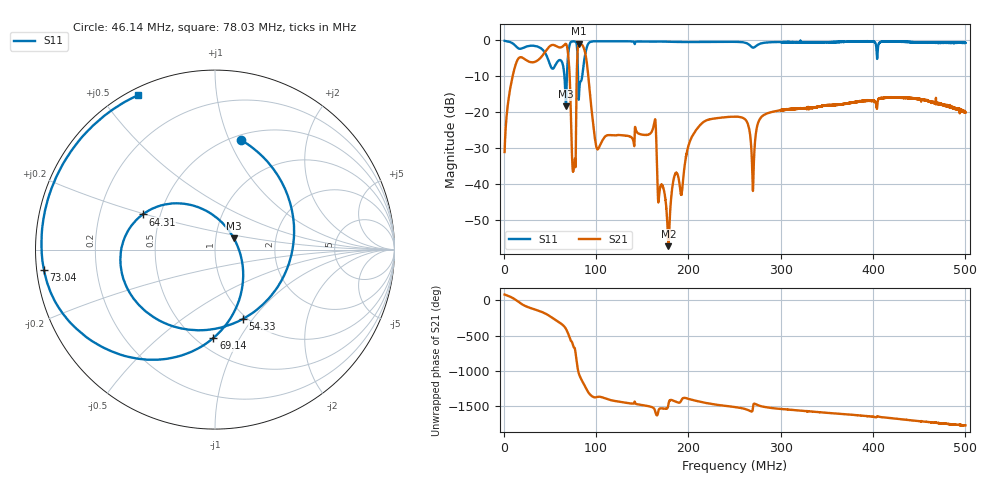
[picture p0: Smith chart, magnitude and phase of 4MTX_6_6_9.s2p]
! NanoVNA-App
! Date: 2026-08-18 22:12:17
! Start: 1MHz Stop: 500MHz Points: 6401
! S-Parameter data: F S11 S21 S12 S22
# Hz S RI R 50
!  Frequency  S11_Real  S11_Imag  S21_Real  S21_Imag  S12_Real  S12_Imag  S22_Real  S22_Imag
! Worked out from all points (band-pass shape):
!   6401 points, 1 MHz to 500 MHz, reference 50 ohm
!   highest |S21| = -0.87 dB at 81.46 MHz (marker M1); lowest = -57.2 dB at 178.5 MHz (marker M2)
!   |S21| within 3 dB of the highest: 42.91 MHz to 69.77 MHz (26.86 MHz wide, 47.7 % of centre); 79.85 MHz to 88.6 MHz (8.752 MHz wide, 10.4 % of centre)
!   lowest |S11| = -18.2 dB at 67.35 MHz (marker M3), VSWR 1.28, Z = 61.1 + j7.85 ohm
!   |S11| at or under -10 dB: 65.79 MHz to 68.46 MHz (2.671 MHz wide, 3.98 % of centre); 80.54 MHz to 84.99 MHz (4.454 MHz wide, 5.38 % of centre)
!   S12 and S22 are empty: the file has one direction only
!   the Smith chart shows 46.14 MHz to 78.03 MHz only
!   S11 on the Smith chart (normalised r, x): 46.14 MHz: 0.55, +1.11; 54.33 MHz: 0.95, -0.90; 64.31 MHz: 0.40, +0.20; 69.14 MHz: 0.60, -0.78; 73.04 MHz: 0.02, -0.06; 78.03 MHz: 0.03, +0.62
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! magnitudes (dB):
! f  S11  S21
! 1 MHz  -0.1  -31.0
! 14.49 MHz  -1.9  -5.6
! 46.14 MHz  -4.1  -2.7
! 54.33 MHz  -7.6  -1.3
! 64.31 MHz  -7.0  -1.6
! 67.35 MHz  -18.2  -0.9
! 69.14 MHz  -6.1  -2.5
! 73.04 MHz  -0.4  -23.8
! 75.77 MHz  -0.2  -35.6
! 78.03 MHz  -0.4  -32.4
! 81.46 MHz  -15.7  -0.9
! 84.19 MHz  -11.1  -1.1
! 101.3 MHz  -0.2  -30.2
! 162.6 MHz  -0.3  -23.5
! 167.4 MHz  -0.3  -45.0
! 178.5 MHz  -0.3  -57.2
! 206.4 MHz  -0.4  -25.6
! 250.5 MHz  -0.4  -21.2
! 269.9 MHz  -2.0  -41.8
! 333.7 MHz  -0.5  -18.7
! 416.9 MHz  -0.2  -15.9
! 500 MHz  -0.7  -20.0
